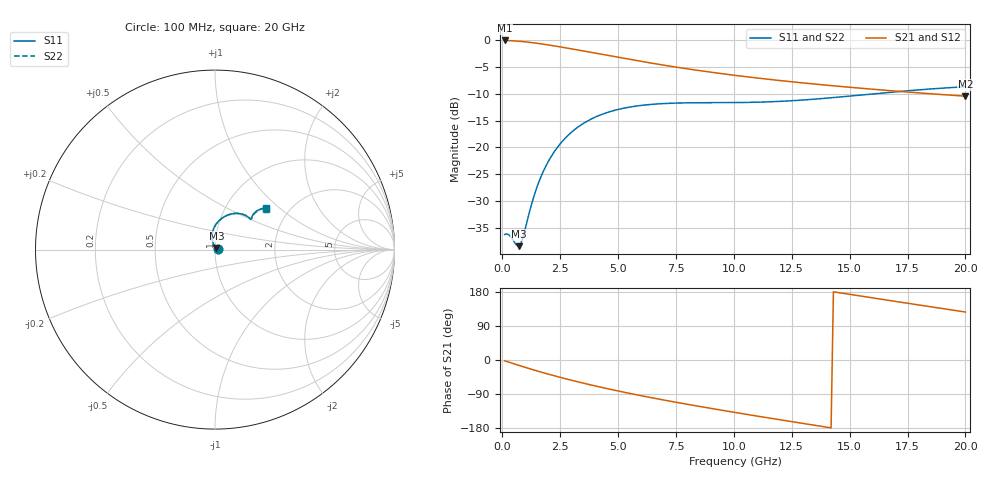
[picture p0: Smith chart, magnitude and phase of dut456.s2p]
! Touchstone file exported from HFSS 2024.1.0
!  File:  C:/UserFiles/LocalFiles/RDL_TSV_Batchsim/temp_RDL_TSV_456_1779726311.aedt
!  Generated:  12:42:32 AM May 26, 2026
!  Design:  RDL_TSV
!  Project:  temp_RDL_TSV_456_1779726311
!  Setup:  Setup1
!  Solution:  Sweep
! Variables:
!  dtsv = 9.71um
!  hbump = 3um
!  htsv = 86.04um
!  ldown = 644.45um
!  lrdl = 326.58um
!  p = 40
!  p1 = 50.74um
!  rhole = 10um
!  subl = 3239.67um
!  t = 450um
!  tdown = 4.34um
!  trdl = 4.57um
!  viad = 10um
!  wdown = 29.69um
!  wrdl = 10.74um
!  xbump = 18um
# GHz S MA R 50.000000
! Terminal data exported
! Port[1] = TM1_1_T1
! Port[2] = TM1_4_T1
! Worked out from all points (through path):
!   200 points, 100 MHz to 20 GHz, reference 50 ohm
!   highest |S21| = -0.14 dB at 100 MHz (marker M1); lowest = -10.5 dB at 20 GHz (marker M2)
!   group delay of S21, straight-line fit = 30.6 ps
!   lowest |S11| = -38.3 dB at 700 MHz (marker M3), VSWR 1.02, Z = 50.8 + j0.937 ohm
!   |S11| at or under -10 dB: start of sweep to 16.16 GHz
!   |S22| runs from -38.3 to -8.8 dB; largest |S21 - S12| = 4.5e-14
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0.1  0.01558 5.9  0.984 -2.1  0.984 -2.1  0.01558 5.9
! Gamma 0 0 0 0
! Port Impedance 50 0 50 0
0.3  0.01539 13.1  0.9804 -6.1  0.9804 -6.1  0.01539 13.1
0.6  0.0125 35.4  0.9719 -11.9  0.9719 -11.9  0.01249 35.4
0.7  0.01213 49.5  0.9683 -13.9  0.9683 -13.9  0.01213 49.5
0.8  0.01283 65.3  0.9642 -15.8  0.9642 -15.8  0.01282 65.3
0.9  0.01479 79.4  0.9598 -17.7  0.9598 -17.7  0.01479 79.4
1.2  0.02651 101.4  0.9443 -23.3  0.9443 -23.3  0.02652 101.4
1.5  0.04303 106.0  0.9264 -28.8  0.9264 -28.8  0.04305 106.1
1.9  0.06835 103.8  0.9 -35.8  0.9 -35.8  0.0684 103.9
2.2  0.08825 100.1  0.8791 -40.9  0.8791 -40.9  0.08832 100.1
2.6  0.1145 94.2  0.8505 -47.4  0.8505 -47.4  0.1146 94.2
3.5  0.167 80.8  0.7861 -61.1  0.7861 -61.1  0.1673 80.9
4.2  0.1989 71.6  0.738 -71.1  0.738 -71.1  0.1992 71.7
4.9  0.2225 63.8  0.6929 -80.5  0.6929 -80.5  0.223 63.8
5.8  0.2425 55.6  0.6401 -91.8  0.6401 -91.8  0.2431 55.6
6.8  0.2543 48.9  0.5886 -103.6  0.5886 -103.6  0.2551 48.9
8.4  0.26 42.4  0.521 -121.3  0.521 -121.3  0.261 42.3
10.1  0.261 40.1  0.4654 -138.9  0.4654 -138.9  0.262 39.9
11.7  0.266 40.6  0.4244 -154.8  0.4244 -154.8  0.2668 40.4
13.4  0.2798 42.1  0.3892 -171.4  0.3892 -171.4  0.2803 41.7
16.7  0.3242 42.5  0.3372 157.2  0.3372 157.2  0.3238 42.2
20  0.3662 39.1  0.2991 126.6  0.2991 126.6  0.365 38.8
